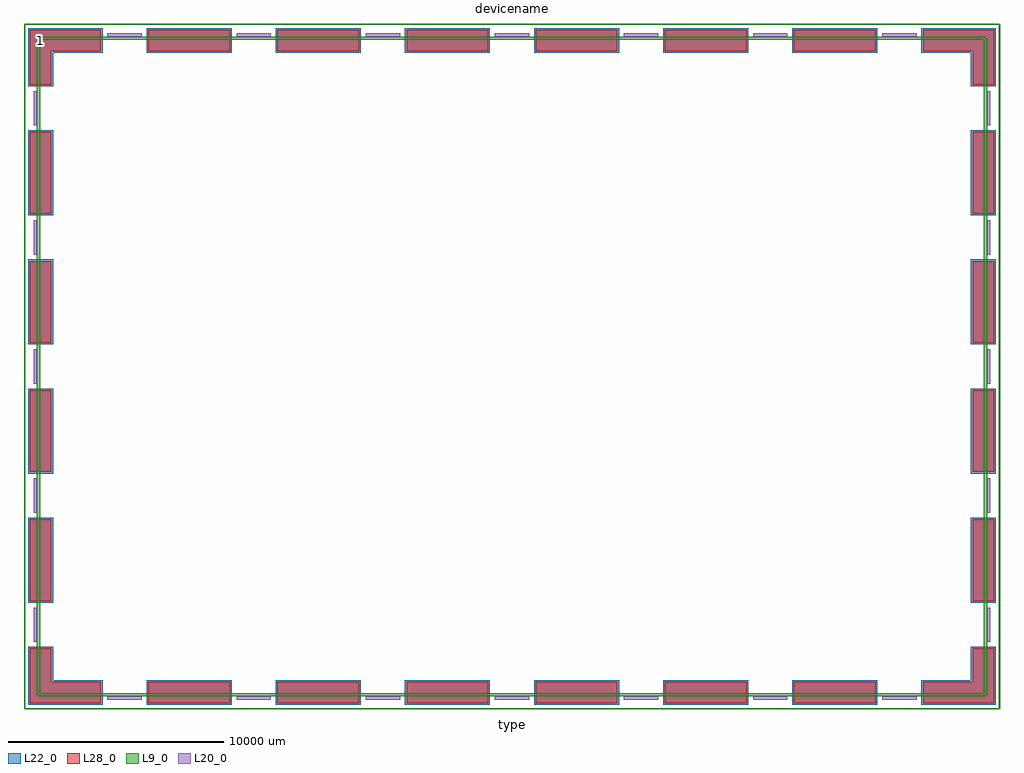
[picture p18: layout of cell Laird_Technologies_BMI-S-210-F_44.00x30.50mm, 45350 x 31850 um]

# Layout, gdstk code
import gdstk
lib = gdstk.Library(unit=1e-6, precision=1e-09)
def R(c, l, rs):  # rectangles x0, y0, x1, y1
    for r in rs: c.add(gdstk.rectangle(r[:2], r[2:], *l))
def A(c, l, x, y, w, h, nx, ny, dx, dy):  # array of equal rectangles
    R(c, l, [(x+i*dx, y+j*dy, x+i*dx+w, y+j*dy+h) for i in range(nx) for j in range(ny)])
L9_0 = (9, 0)
L20_0 = (20, 0)
L22_0 = (22, 0)
L28_0 = (28, 0)

laird_technologies_bmi_s = lib.new_cell('Laird_Technologies_BMI-S-210-F_44.00x30.50mm')
A(laird_technologies_bmi_s, L22_0, -16975, -15725, 3950, 1150, 6, 2, 6000, 30300)
A(laird_technologies_bmi_s, L22_0, -22475, -10975, 1150, 3950, 1, 4, 0, 6000)
A(laird_technologies_bmi_s, L22_0, 21325, -10975, 1150, 3950, 1, 4, 0, 6000)
R(laird_technologies_bmi_s, L22_0, [(-22475,-15725,-21325,-14575), (-21475,-15725,-19025,-14575), (19025,-15725,21475,-14575), (21325,-15725,22475,-14575), (-22475,-14725,-21325,-13025), (21325,-14725,22475,-13025), (-22475,13025,-21325,14725), (21325,13025,22475,14725), (-22475,14575,-21325,15725), (-21475,14575,-19025,15725), (19025,14575,21475,15725), (21325,14575,22475,15725)])
A(laird_technologies_bmi_s, L28_0, -16900, -15650, 3800, 1000, 6, 2, 6000, 30300)
A(laird_technologies_bmi_s, L28_0, -22400, -10900, 1000, 3800, 1, 4, 0, 6000)
A(laird_technologies_bmi_s, L28_0, 21400, -10900, 1000, 3800, 1, 4, 0, 6000)
R(laird_technologies_bmi_s, L28_0, [(-22400,-15650,-21400,-14650), (-21400,-15650,-19100,-14650), (19100,-15650,21400,-14650), (21400,-15650,22400,-14650), (-22400,-14650,-21400,-13100), (21400,-14650,22400,-13100), (-22400,13100,-21400,14650), (21400,13100,22400,14650), (-22400,14650,-21400,15650), (-21400,14650,-19100,15650), (19100,14650,21400,15650), (21400,14650,22400,15650)])
laird_technologies_bmi_s.add(gdstk.FlexPath([(22150,-11200),(22150,-12800)], 149.998, ends="flush", simple_path=True, layer=20, datatype=0))  # L20_0
laird_technologies_bmi_s.add(gdstk.FlexPath([(-22150,-11200),(-22150,-12800)], 149.998, ends="flush", simple_path=True, layer=20, datatype=0))  # L20_0
laird_technologies_bmi_s.add(gdstk.FlexPath([(22150,-5200),(22150,-6800)], 149.998, ends="flush", simple_path=True, layer=20, datatype=0))  # L20_0
laird_technologies_bmi_s.add(gdstk.FlexPath([(-22150,-5200),(-22150,-6800)], 149.998, ends="flush", simple_path=True, layer=20, datatype=0))  # L20_0
laird_technologies_bmi_s.add(gdstk.FlexPath([(22150,800),(22150,-800)], 149.998, ends="flush", simple_path=True, layer=20, datatype=0))  # L20_0
laird_technologies_bmi_s.add(gdstk.FlexPath([(-22150,800),(-22150,-800)], 149.998, ends="flush", simple_path=True, layer=20, datatype=0))  # L20_0
laird_technologies_bmi_s.add(gdstk.FlexPath([(22150,6800),(22150,5200)], 149.998, ends="flush", simple_path=True, layer=20, datatype=0))  # L20_0
laird_technologies_bmi_s.add(gdstk.FlexPath([(-22150,6800),(-22150,5200)], 149.998, ends="flush", simple_path=True, layer=20, datatype=0))  # L20_0
laird_technologies_bmi_s.add(gdstk.FlexPath([(22150,12800),(22150,11200)], 149.998, ends="flush", simple_path=True, layer=20, datatype=0))  # L20_0
laird_technologies_bmi_s.add(gdstk.FlexPath([(-22150,12800),(-22150,11200)], 149.998, ends="flush", simple_path=True, layer=20, datatype=0))  # L20_0
laird_technologies_bmi_s.add(gdstk.FlexPath([(17200,-15400),(18800,-15400)], 149.998, ends="flush", simple_path=True, layer=20, datatype=0))  # L20_0
laird_technologies_bmi_s.add(gdstk.FlexPath([(17200,15400),(18800,15400)], 149.998, ends="flush", simple_path=True, layer=20, datatype=0))  # L20_0
laird_technologies_bmi_s.add(gdstk.FlexPath([(11200,-15400),(12800,-15400)], 149.998, ends="flush", simple_path=True, layer=20, datatype=0))  # L20_0
laird_technologies_bmi_s.add(gdstk.FlexPath([(11200,15400),(12800,15400)], 149.998, ends="flush", simple_path=True, layer=20, datatype=0))  # L20_0
laird_technologies_bmi_s.add(gdstk.FlexPath([(5200,-15400),(6800,-15400)], 149.998, ends="flush", simple_path=True, layer=20, datatype=0))  # L20_0
laird_technologies_bmi_s.add(gdstk.FlexPath([(5200,15400),(6800,15400)], 149.998, ends="flush", simple_path=True, layer=20, datatype=0))  # L20_0
laird_technologies_bmi_s.add(gdstk.FlexPath([(-800,-15400),(800,-15400)], 149.998, ends="flush", simple_path=True, layer=20, datatype=0))  # L20_0
laird_technologies_bmi_s.add(gdstk.FlexPath([(-800,15400),(800,15400)], 149.998, ends="flush", simple_path=True, layer=20, datatype=0))  # L20_0
laird_technologies_bmi_s.add(gdstk.FlexPath([(-6800,-15400),(-5200,-15400)], 149.998, ends="flush", simple_path=True, layer=20, datatype=0))  # L20_0
laird_technologies_bmi_s.add(gdstk.FlexPath([(-6800,15400),(-5200,15400)], 149.998, ends="flush", simple_path=True, layer=20, datatype=0))  # L20_0
laird_technologies_bmi_s.add(gdstk.FlexPath([(-12800,-15400),(-11200,-15400)], 149.998, ends="flush", simple_path=True, layer=20, datatype=0))  # L20_0
laird_technologies_bmi_s.add(gdstk.FlexPath([(-12800,15400),(-11200,15400)], 149.998, ends="flush", simple_path=True, layer=20, datatype=0))  # L20_0
laird_technologies_bmi_s.add(gdstk.FlexPath([(-18800,-15400),(-17200,-15400)], 149.998, ends="flush", simple_path=True, layer=20, datatype=0))  # L20_0
laird_technologies_bmi_s.add(gdstk.FlexPath([(-18800,15400),(-17200,15400)], 149.998, ends="flush", simple_path=True, layer=20, datatype=0))  # L20_0
laird_technologies_bmi_s.add(gdstk.FlexPath([(22000,15250),(-22000,15250)], 149.998, ends="flush", simple_path=True, layer=9, datatype=0))  # L9_0
laird_technologies_bmi_s.add(gdstk.FlexPath([(22000,-15250),(22000,15250)], 149.998, ends="flush", simple_path=True, layer=9, datatype=0))  # L9_0
laird_technologies_bmi_s.add(gdstk.FlexPath([(-22000,-15250),(22000,-15250)], 149.998, ends="flush", simple_path=True, layer=9, datatype=0))  # L9_0
laird_technologies_bmi_s.add(gdstk.FlexPath([(-22000,15250),(-22000,-15250)], 149.998, ends="flush", simple_path=True, layer=9, datatype=0))  # L9_0
laird_technologies_bmi_s.add(gdstk.FlexPath([(22650,15900),(-22650,15900)], 50, ends="flush", simple_path=True, layer=9, datatype=0))  # L9_0
laird_technologies_bmi_s.add(gdstk.FlexPath([(22650,-15900),(22650,15900)], 50, ends="flush", simple_path=True, layer=9, datatype=0))  # L9_0
laird_technologies_bmi_s.add(gdstk.FlexPath([(-22650,-15900),(22650,-15900)], 50, ends="flush", simple_path=True, layer=9, datatype=0))  # L9_0
laird_technologies_bmi_s.add(gdstk.FlexPath([(-22650,15900),(-22650,-15900)], 50, ends="flush", simple_path=True, layer=9, datatype=0))  # L9_0
laird_technologies_bmi_s.add(gdstk.Label('1', (-21900,15150), layer=28, texttype=0))
laird_technologies_bmi_s.add(gdstk.Label('type', (0,-16650), layer=9, texttype=0))
laird_technologies_bmi_s.add(gdstk.Label('devicename', (0,16650), layer=9, texttype=0))

lib.write_gds('Laird_Technologies_BMI-S-210-F_44.00x30.50mm.gds')
